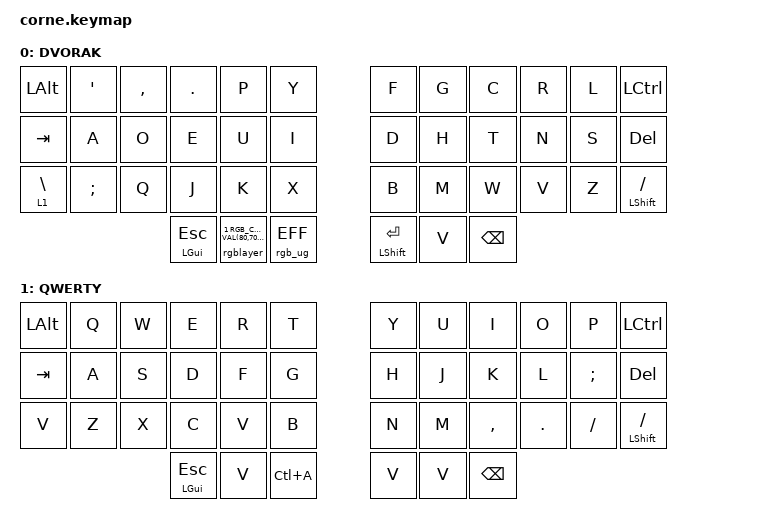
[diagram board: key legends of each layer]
#include <behaviors.dtsi>
#include <dt-bindings/zmk/keys.h>
#include <dt-bindings/zmk/rgb.h>

/ {
    macros {
        rgblayer: rgb_layer {
            compatible = "zmk,behavior-macro-two-param";
            label = "No Macro";
            #binding-cells = <2>;
            bindings =
                <&macro_param_2to2 &rgb_ug RGB_COLOR_HSB_CMD MACRO_PLACEHOLDER &macro_param_1to1>,
                <&macro_press>,
                <&mo MACRO_PLACEHOLDER>,
                <&macro_pause_for_release>,
                <&macro_release>,
                <&macro_param_1to1 &mo 0>,
                <&macro_tap>,
                <&rgb_ug RGB_TOG>;
        };
    };

    keymap {
        compatible = "zmk,keymap";

        DVORAK {
            bindings = <
&kp LALT    &kp SQT   &kp COMMA  &kp DOT       &kp P                                    &kp Y              &kp F          &kp G  &kp C     &kp R  &kp L  &kp LCTRL
&kp TAB     &kp A     &kp O      &kp E         &kp U                                    &kp I              &kp D          &kp H  &kp T     &kp N  &kp S  &kp DEL
&lt 1 BSLH  &kp SEMI  &kp Q      &kp J         &kp K                                    &kp X              &kp B          &kp M  &kp W     &kp V  &kp Z  &mt LSHFT SLASH
                                 &mt LGUI ESC  &rgblayer 1 RGB_COLOR_HSB_VAL(80,70,50)  &rgb_ug RGB_EFF    &mt LSHFT RET  &kp V  &kp BSPC
            >;
        };

        QWERTY {
            bindings = <
&kp LALT  &kp Q  &kp W  &kp E         &kp R  &kp T        &kp Y  &kp U  &kp I      &kp O    &kp P     &kp LCTRL
&kp TAB   &kp A  &kp S  &kp D         &kp F  &kp G        &kp H  &kp J  &kp K      &kp L    &kp SEMI  &kp DEL
&kp V     &kp Z  &kp X  &kp C         &kp V  &kp B        &kp N  &kp M  &kp COMMA  &kp DOT  &kp FSLH  &mt LSHIFT SLASH
                        &mt LGUI ESC  &kp V  &kp LC(A)    &kp V  &kp V  &kp BSPC
            >;
        };
    };
};
